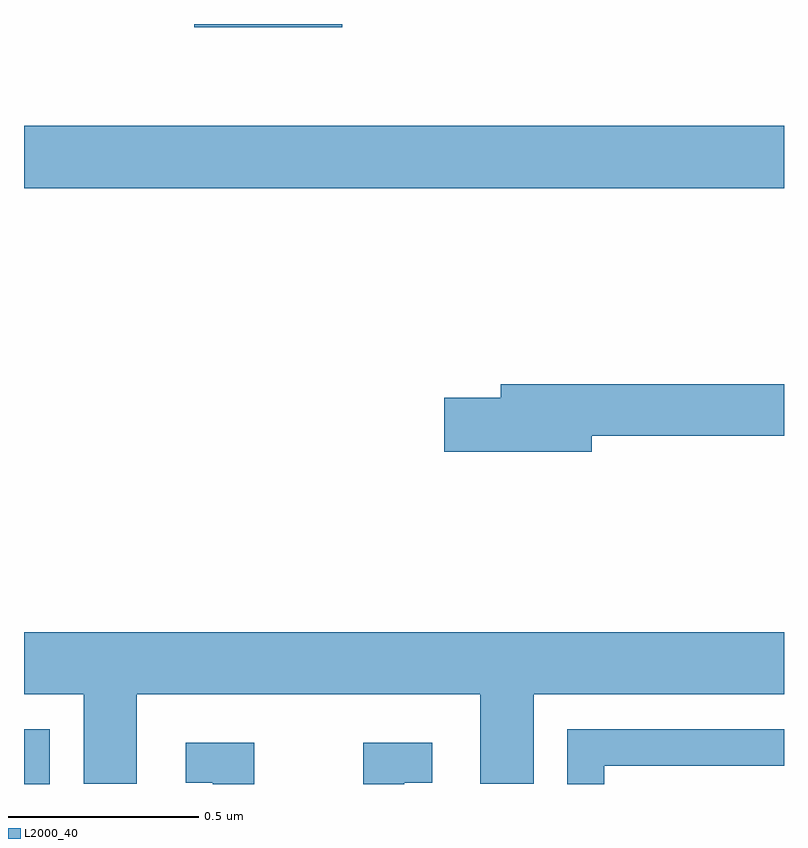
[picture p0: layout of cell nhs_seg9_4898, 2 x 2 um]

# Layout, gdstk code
import gdstk
lib = gdstk.Library(unit=1e-6, precision=1e-09)
def R(c, l, rs):  # rectangles x0, y0, x1, y1
    for r in rs: c.add(gdstk.rectangle(r[:2], r[2:], *l))
def P(c, l, *ps):  # polygons
    for p in ps: c.add(gdstk.Polygon(p, *l))
L2000_40 = (2000, 40)

nhs_seg9_4898 = lib.new_cell('nhs_seg9_4898')
R(nhs_seg9_4898, L2000_40, [(172,1213.5,172.068,1213.644), (172,1215.068,174,1215.232), (172.448,1215.491,172.837,1215.5)])
P(nhs_seg9_4898, L2000_40, [(173.494,1214.416),(174,1214.416),(174,1214.552),(173.255,1214.552),(173.255,1214.516),(173.106,1214.516),(173.106,1214.374),(173.494,1214.374)],
  [(172.297,1213.736),(173.201,1213.736),(173.201,1213.501),(173.341,1213.501),(173.341,1213.736),(174,1213.736),(174,1213.9),(172,1213.9),(172,1213.736),(172.157,1213.736),(172.157,1213.501),(172.297,1213.501)],
  [(173.527,1213.548),(174,1213.548),(174,1213.644),(173.43,1213.644),(173.43,1213.5),(173.527,1213.5)],
  [(172.606,1213.609),(172.425,1213.609),(172.425,1213.503),(172.497,1213.503),(172.497,1213.5),(172.606,1213.5)],
  [(173.001,1213.503),(173.074,1213.503),(173.074,1213.609),(172.893,1213.609),(172.893,1213.5),(173.001,1213.5)])

lib.write_gds('nhs_seg9_4898.gds')
